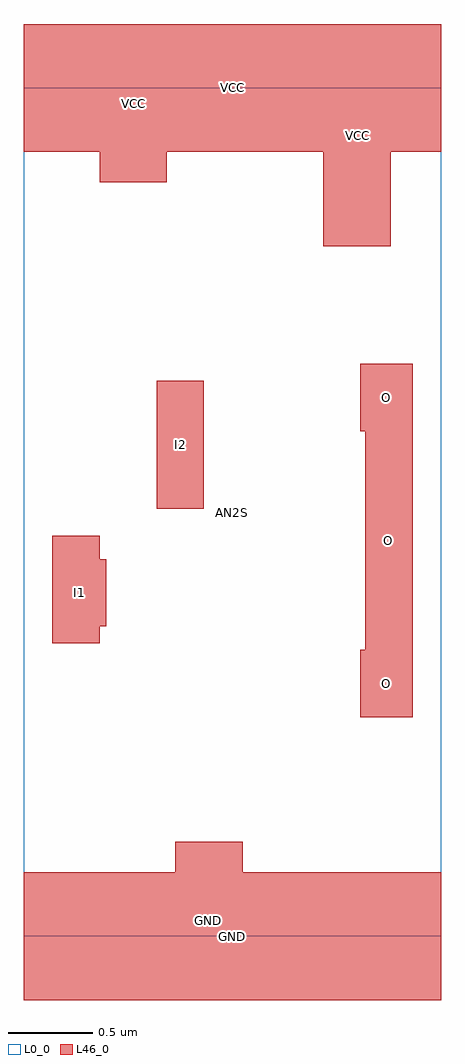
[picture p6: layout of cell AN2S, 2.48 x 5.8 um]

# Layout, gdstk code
import gdstk
lib = gdstk.Library(unit=1e-6, precision=1e-09)
def R(c, l, rs):  # rectangles x0, y0, x1, y1
    for r in rs: c.add(gdstk.rectangle(r[:2], r[2:], *l))
L0_0 = (0, 0)
L46_0 = (46, 0)

an2s = lib.new_cell('AN2S')
R(an2s, L0_0, [(0,0,2.48,5.04)])
R(an2s, L46_0, [(0,-0.38,2.48,0.38), (0.9,-0.38,1.3,0.56), (2,1.3,2.31,1.7), (2.03,1.3,2.31,3.4), (0.17,1.74,0.45,2.38), (0.17,1.84,0.49,2.24), (0.79,2.54,1.07,3.3), (2,3,2.31,3.4), (1.78,4.1,2.18,5.42), (0.45,4.48,0.85,5.42), (0,4.66,2.48,5.42)])
an2s.add(gdstk.Label('AN2S', (1.24,2.52), layer=0, texttype=0))
an2s.add(gdstk.Label('O', (2.17,2.35), layer=101, texttype=0))
an2s.add(gdstk.Label('O', (2.155,3.2), layer=101, texttype=0))
an2s.add(gdstk.Label('O', (2.155,1.5), layer=101, texttype=0))
an2s.add(gdstk.Label('I2', (0.93,2.92), layer=101, texttype=0))
an2s.add(gdstk.Label('I1', (0.33,2.04), layer=101, texttype=0))
an2s.add(gdstk.Label('I1', (0.31,2.06), layer=101, texttype=0))
an2s.add(gdstk.Label('GND', (1.24,0), layer=101, texttype=0))
an2s.add(gdstk.Label('GND', (1.1,0.09), layer=101, texttype=0))
an2s.add(gdstk.Label('VCC', (1.98,4.76), layer=101, texttype=0))
an2s.add(gdstk.Label('VCC', (1.24,5.04), layer=101, texttype=0))
an2s.add(gdstk.Label('VCC', (0.65,4.95), layer=101, texttype=0))

lib.write_gds('AN2S.gds')
